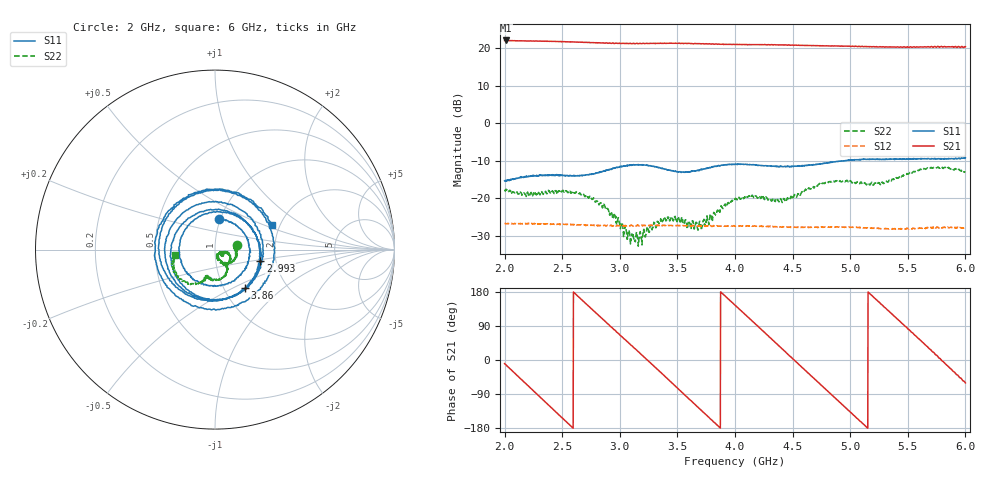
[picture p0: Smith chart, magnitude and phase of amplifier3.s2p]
#  HZ  S  DB  R  50.00
! Rohde & Schwarz ZVA24 4Ports - Version 3.60 - 1145.1110k28 SN: 101513
! Date: 2019-09-25 19:46:34
! Measurements: S33 S43 S34 S44
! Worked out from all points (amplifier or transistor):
!   1601 points, 2 GHz to 6 GHz, reference 50 ohm
!   highest |S21| = 22.1 dB at 2.01 GHz (marker M1)
!   |S21| within 3 dB of that: start of sweep to end of sweep
!   unconditionally stable (mu >= 1): start of sweep to end of sweep
!   at 2.665 GHz: K = 1.16, MAG = 21.9 dB, |S12| = -27.0 dB
!   at 4 GHz: K = 1.17, MAG = 21.7 dB, |S12| = -27.4 dB
!   at 6 GHz: K = 1.14, MAG = 21.9 dB, |S12| = -28.0 dB
!   S11 on the Smith chart (normalised r, x): 2 GHz: 0.99, +0.34; 2.993 GHz: 1.66, -0.23; 3.86 GHz: 1.25, -0.58; 6 GHz: 1.81, +0.57
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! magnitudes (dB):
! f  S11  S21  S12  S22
! 2 GHz  -15.4  22.0  -26.8  -18.0
! 2.01 GHz  -15.4  22.1  -26.8  -17.6
! 2.197 GHz  -14.2  21.9  -26.8  -18.5
! 2.49 GHz  -13.8  21.8  -27.0  -18.1
! 2.667 GHz  -13.8  21.6  -27.0  -19.3
! 2.853 GHz  -12.9  21.4  -27.4  -22.1
! 2.993 GHz  -11.7  21.3  -27.3  -26.1
! 3.08 GHz  -11.2  21.2  -27.3  -28.5
! 3.143 GHz  -11.1  21.3  -27.4  -29.6
! 3.335 GHz  -11.8  21.3  -27.2  -26.4
! 3.493 GHz  -12.9  21.3  -27.3  -25.7
! 3.695 GHz  -12.5  21.2  -27.4  -26.1
! 3.86 GHz  -11.3  21.1  -27.4  -23.5
! 4 GHz  -11.0  21.0  -27.4  -20.1
! 4.138 GHz  -11.0  21.0  -27.4  -19.6
! 4.425 GHz  -11.5  20.8  -27.6  -20.3
! 4.668 GHz  -11.1  20.7  -27.8  -17.1
! 4.862 GHz  -10.3  20.6  -27.6  -15.6
! 5.185 GHz  -9.6  20.4  -27.9  -15.8
! 5.335 GHz  -9.6  20.3  -28.2  -15.3
! 5.715 GHz  -9.5  20.3  -27.9  -12.0
! 6 GHz  -9.2  20.4  -28.0  -12.9
